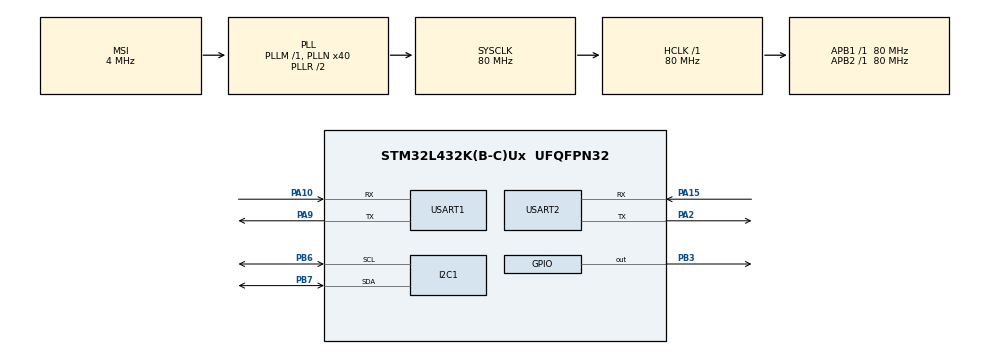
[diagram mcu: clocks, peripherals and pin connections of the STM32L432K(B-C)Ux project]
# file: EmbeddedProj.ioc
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I2C1.Timing=0x10909CEC
Mcu.Family=STM32L4
Mcu.Name=STM32L432K(B-C)Ux
Mcu.Package=UFQFPN32
NVIC.PriorityGroup=NVIC_PRIORITYGROUP_4
NVIC.USART1_IRQn=true\:0\:0\:false\:false\:true\:true\:true
NVIC.USART2_IRQn=true\:0\:0\:false\:false\:true\:true\:true
PA10.Mode=Asynchronous
PA10.Signal=USART1_RX
PA13\ (JTMS-SWDIO).Mode=Serial_Wire
PA13\ (JTMS-SWDIO).Signal=SYS_JTMS-SWDIO
PA14\ (JTCK-SWCLK).Mode=Serial_Wire
PA14\ (JTCK-SWCLK).Signal=SYS_JTCK-SWCLK
PA15\ (JTDI).Mode=Asynchronous
PA15\ (JTDI).Signal=USART2_RX
PA2.Mode=Asynchronous
PA2.Signal=USART2_TX
PA9.Mode=Asynchronous
PA9.Signal=USART1_TX
PB3\ (JTDO-TRACESWO).Signal=GPIO_Output
PB6.Mode=I2C
PB6.Signal=I2C1_SCL
PB7.Mode=I2C
PB7.Signal=I2C1_SDA
ProjectManager.HeapSize=0x200
ProjectManager.StackSize=0x400
ProjectManager.TargetToolchain=MDK-ARM V5.27
RCC.AHBFreq_Value=80000000
RCC.APB1Freq_Value=80000000
RCC.APB1TimFreq_Value=80000000
RCC.APB2Freq_Value=80000000
RCC.APB2TimFreq_Value=80000000
RCC.CortexFreq_Value=80000000
RCC.HCLKFreq_Value=80000000
RCC.HSE_VALUE=8000000
RCC.HSI48_VALUE=48000000
RCC.HSI_VALUE=16000000
RCC.LSE_VALUE=32768
RCC.MSI_VALUE=4000000
RCC.PLLN=40
RCC.SYSCLKFreq_VALUE=80000000
RCC.SYSCLKSource=RCC_SYSCLKSOURCE_PLLCLK
RCC.VCOOutputFreq_Value=160000000
USART1.VirtualMode-Asynchronous=VM_ASYNC
USART2.VirtualMode-Asynchronous=VM_ASYNC
board=custom

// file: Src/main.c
/* USER CODE BEGIN Header */
/**
  ******************************************************************************
  * @file           : main.c
  * @brief          : Main program body
  ******************************************************************************
  * @attention
  *
  * <h2><center>&copy; Copyright (c) 2020 STMicroelectronics.
  * All rights reserved.</center></h2>
  *
  * This software component is licensed by ST under BSD 3-Clause license,
  * the "License"; You may not use this file except in compliance with the
  * License. You may obtain a copy of the License at:
  *                        opensource.org/licenses/BSD-3-Clause
  *
  ******************************************************************************
  */
/* USER CODE END Header */

#include "main.h"

/* USER CODE BEGIN Includes */
#include "stdio.h"
#include <stdlib.h>
#include "string.h"
/* USER CODE END Includes */

I2C_HandleTypeDef hi2c1;

UART_HandleTypeDef huart1;
UART_HandleTypeDef huart2;

/* USER CODE BEGIN PV */
char buffer[256];
int bufferCounter = 0;
int bufferSeeker = 0;
uint8_t secbuffer [2], minbuffer [2], hourbuffer [2];
uint8_t secbufferAlram [2], minbufferAlram [2], hourbufferAlram [2] , DaybufferAlram [2];
uint8_t CR[2];
uint8_t status[2];
uint8_t TUpperByte [2], TLowerByte [2];
/* USER CODE END PV */

void SystemClock_Config(void);
static void MX_GPIO_Init(void);
static void MX_USART2_UART_Init(void);
static void MX_USART1_UART_Init(void);
static void MX_I2C1_Init(void);

/* USER CODE BEGIN 0 */
uint8_t hexToAscii(uint8_t n)//4-bit hex value converted to an ascii character
{
 if (n>=0 && n<=9) n = n + '0';
 else n = n - 10 + 'A';
 return n;
}

void toggleLED(){
	HAL_GPIO_TogglePin(GPIOB, GPIO_PIN_3);
}
void LED(int state) {
	HAL_GPIO_WritePin(GPIOB, GPIO_PIN_3, state ? GPIO_PIN_SET : GPIO_PIN_RESET);
}
void setAlarm(uint8_t hours[2], uint8_t minutes[2], uint8_t secs[2]) {
	HAL_UART_Transmit(&huart2, hours, 2, 100);
	HAL_UART_Transmit(&huart2, minutes, 2, 100);
	HAL_UART_Transmit(&huart2, secs, 2, 100);
	hours[0] = hours[0] - '0';
	hours[1] = hours[1] - '0';
	minutes[0] = minutes[0] - '0';
	minutes[1] = minutes[1] - '0';
	secs[0] = secs[0] - '0';
	secs[1] = secs[1] - '0';

	HAL_I2C_Master_Transmit(&hi2c1, 0xD0, status, 1, 10);
	HAL_I2C_Master_Receive(&hi2c1, 0xD0, status+1, 1, 10);
	status[1] &= 0xFC; // xxxxxx00
	HAL_I2C_Master_Transmit(&hi2c1, 0xD0, status, 2, 10);

	// seconds
	secbufferAlram[1] = (secs[0] << 4) | secs[1];
	HAL_I2C_Master_Transmit(&hi2c1, 0xD0, secbufferAlram, 2, 10);
	// minutes
	minbufferAlram[1] = (minutes[0] << 4) | minutes[1];
	HAL_I2C_Master_Transmit(&hi2c1, 0xD0, minbufferAlram, 2, 10);
	// hours
	hourbufferAlram[1] = (hours[0] << 4) | hours[1];
	HAL_I2C_Master_Transmit(&hi2c1, 0xD0, hourbufferAlram, 2, 10);

	DaybufferAlram[1] = 0x80; //data to put in register 10000000 --> AIM4 = 1
	HAL_I2C_Master_Transmit(&hi2c1, 0xD0, DaybufferAlram, 2, 10);
}

void setTime(uint8_t hours[2], uint8_t minutes[2], uint8_t secs[2]){
	// seconds
	hours[0] = hours[0] - '0';
	hours[1] = hours[1] - '0';
	minutes[0] = minutes[0] - '0';
	minutes[1] = minutes[1] - '0';
	secs[0] = secs[0] - '0';
	secs[1] = secs[1] - '0';
	secbuffer[1] = (secs[0] << 4) | secs[1];
	HAL_I2C_Master_Transmit(&hi2c1, 0xD0, secbuffer, 2, 10);
	// minutes
	minbuffer[1] = (minutes[0] << 4) | minutes[1];
	HAL_I2C_Master_Transmit(&hi2c1, 0xD0, minbuffer, 2, 10);
	// hours
	hourbuffer[1] = (hours[0] << 4) | hours[1];
	HAL_I2C_Master_Transmit(&hi2c1, 0xD0, hourbuffer, 2, 10);
}

void getAlarm(){
	//Alarm Status Read
	uint8_t out[] = {'A',':',0,'\r','\n'};
	HAL_I2C_Master_Transmit(&hi2c1, 0xD0, status, 1, 10);
	HAL_I2C_Master_Receive(&hi2c1, 0xD1, status+1, 1, 10);
	uint8_t A1F = hexToAscii(status[1] & 0x01 );
	out[2] = A1F;
	HAL_UART_Transmit(&huart1,out, sizeof(out), 10);
}

void getTime(){
	uint8_t out[] = {0,0,':',0,0,':',0,0,' ','A',':',0,'\r','\n'};
		//Secs Read
		HAL_I2C_Master_Transmit(&hi2c1, 0xD0, secbuffer, 1, 10);
		HAL_I2C_Master_Receive(&hi2c1, 0xD1, secbuffer+1, 1, 10);
		out[6] = hexToAscii(secbuffer[1] >> 4 );
		out[7] = hexToAscii(secbuffer[1] & 0x0F );

		//Minutes Read
		HAL_I2C_Master_Transmit(&hi2c1, 0xD0, minbuffer, 1, 10);
		HAL_I2C_Master_Receive(&hi2c1, 0xD1, minbuffer+1, 1, 10);
		out[3] = hexToAscii(minbuffer[1] >> 4 );
		out[4] = hexToAscii(minbuffer[1] & 0x0F );

		//Hours Read
		HAL_I2C_Master_Transmit(&hi2c1, 0xD0, hourbuffer, 1, 10);
		HAL_I2C_Master_Receive(&hi2c1, 0xD1, hourbuffer+1, 1, 10);
		out[0] = hexToAscii((hourbuffer[1] >> 4) & 0x01);
		out[1] = hexToAscii(hourbuffer[1] & 0x0F);

		//Alarm Status Read
		HAL_I2C_Master_Transmit(&hi2c1, 0xD0, status, 1, 10);
		HAL_I2C_Master_Receive(&hi2c1, 0xD1, status+1, 1, 10);
		uint8_t A1F = hexToAscii(status[1] & 0x01 );
		out[12] = A1F;
		// transmit time to
		HAL_UART_Transmit(&huart1,out, sizeof(out), 10);
}

void getTemperature() {
	char fraction[]={'.','0','0',' ','C','\r','\n'};
	char temp[2];
	char out1[3];
	char negSign = '-';

	//Initiate Conversion
	HAL_I2C_Master_Transmit(&hi2c1, 0xD0, CR, 1, 10);
	HAL_I2C_Master_Receive(&hi2c1, 0xD0, CR+1, 1, 10);
	CR[1] |= 0x20; // 00100000
	HAL_I2C_Master_Transmit(&hi2c1, 0xD0, CR, 2, 10);
	do {
		HAL_I2C_Master_Transmit(&hi2c1, 0xD0, status, 1, 10);
		HAL_I2C_Master_Receive(&hi2c1, 0xD0, status+1, 1, 10);
		if ((status[1] & 0x04) == 0x00 ){	 // xxxxx?xx
				HAL_I2C_Master_Transmit(&hi2c1, 0xD0, TUpperByte, 1, 10);
				HAL_I2C_Master_Receive(&hi2c1, 0xD0, TUpperByte+1, 1, 10);
				HAL_I2C_Master_Transmit(&hi2c1, 0xD0, TLowerByte, 1, 10);
				HAL_I2C_Master_Receive(&hi2c1, 0xD0, TLowerByte+1, 1, 10);

				temp[1] = hexToAscii((TUpperByte[1] & 0x0F));
				temp[0] = hexToAscii((TUpperByte[1] << 4) & 0x07);
				unsigned int x = strtol(temp, NULL, 16);
				sprintf(out1,"%u", x);

				switch(TLowerByte[1]) {
					case 0x00:
						fraction[1] = '0';
						fraction[2] = '0';
						break;
					case 0x40:
						fraction[1] = '2';
						fraction[2] = '5';
						break;
					case 0x80:
						fraction[1] = '5';
						fraction[2] = '0';
						break;
					case 0xc0:
						fraction[1] = '7';
						fraction[2] = '5';
						break;
				}

				if((TUpperByte[1] & 0x80) != 0x00)
						HAL_UART_Transmit(&huart1,(uint8_t*) &negSign, 1, 100);
				HAL_UART_Transmit(&huart1,(uint8_t*) out1, strlen(out1), 100);
				HAL_UART_Transmit(&huart1,(uint8_t*) fraction, strlen(fraction), 100);
			}
		} while ((status[1] & 0x04) != 0x00);
}

void ping() {
	char msg[] = "PONG!";
	HAL_UART_Transmit(&huart1,(uint8_t*) msg, strlen(msg), 100);
}

void listen(){
	if(bufferSeeker < bufferCounter && buffer[(bufferCounter-1) % 256] == '\0') {
		if(strncmp(&buffer[bufferSeeker%256],"$LG",3) == 0){
			if(strlen(&buffer[bufferSeeker%256]) == 3)
				toggleLED();
			else
				LED(strlen(&buffer[bufferSeeker%256]) == 6);
		} else if(strncmp(&buffer[bufferSeeker%256],"$G Time",7) == 0) {
			getTime();
		} else if(strncmp(&buffer[bufferSeeker%256],"$G Alarm",8) == 0) {
			getAlarm();
		} else if(strncmp(&buffer[bufferSeeker%256],"$G Temp",7) == 0) {
			getTemperature();
		} else if(strncmp(&buffer[bufferSeeker%256],"$P STM",6) == 0) {
			ping();
		} else if(strncmp(&buffer[bufferSeeker%256],"$S Time",7) == 0) {
			setTime(
			(uint8_t*)&buffer[(bufferSeeker+8) % 256],
			(uint8_t*)&buffer[(bufferSeeker+11) % 256],
			(uint8_t*)&buffer[(bufferSeeker+14) % 256]
			);
		} else if(strncmp(&buffer[bufferSeeker%256], "$S Alarm",8) == 0) {
			setAlarm(
			(uint8_t*)&buffer[(bufferSeeker+9) % 256],
			(uint8_t*)&buffer[(bufferSeeker+12) % 256],
			(uint8_t*)&buffer[(bufferSeeker+15) % 256]
			);
		}
		bufferSeeker += strlen(&buffer[bufferSeeker%256]) + 1;
	}
}
/* USER CODE END 0 */

int main(void)
{

  /* MCU Configuration--------------------------------------------------------*/

  /* Reset of all peripherals, Initializes the Flash interface and the Systick. */
  HAL_Init();

  /* Configure the system clock */
  SystemClock_Config();

  /* Initialize all configured peripherals */
  MX_GPIO_Init();
  MX_USART2_UART_Init();
  MX_USART1_UART_Init();
  MX_I2C1_Init();
  /* USER CODE BEGIN 2 */
	secbuffer[0] = 0x00; //register address
	minbuffer[0] = 0x01; //register address
	hourbuffer[0] = 0x02; //register address
	secbufferAlram[0] = 0x07; //register address
	minbufferAlram[0] = 0x08; //register address
	hourbufferAlram[0] = 0x09; //register address
	DaybufferAlram[0] = 0x0A; //register address
	CR[0]	= 0x0E;
	status[0]	= 0x0F;
	TUpperByte[0] = 0x11;
	TLowerByte[0] = 0x12;

	HAL_I2C_Master_Transmit(&hi2c1, 0xD0, CR, 1, 10);
	HAL_I2C_Master_Receive(&hi2c1, 0xD0, CR+1, 1, 10);
	CR[1] |= 0x05; // 00000101
	HAL_I2C_Master_Transmit(&hi2c1, 0xD0, CR, 2, 10);

	HAL_I2C_Master_Transmit(&hi2c1, 0xD0, status, 1, 10);
	HAL_I2C_Master_Receive(&hi2c1, 0xD0, status+1, 1, 10);
	status[1] &= 0xFC; // xxxxxx00
	HAL_I2C_Master_Transmit(&hi2c1, 0xD0, status, 2, 10);
	__HAL_UART_ENABLE_IT(&huart1, UART_IT_RXNE);
  /* USER CODE END 2 */

  /* Infinite loop */
 while (1)
  {

    /* USER CODE BEGIN 3 */
		listen();

  }
  /* USER CODE END 3 */
}

void SystemClock_Config(void)
{
  RCC_OscInitTypeDef RCC_OscInitStruct = {0};
  RCC_ClkInitTypeDef RCC_ClkInitStruct = {0};
  RCC_PeriphCLKInitTypeDef PeriphClkInit = {0};

  /** Initializes the CPU, AHB and APB busses clocks
  */
  RCC_OscInitStruct.OscillatorType = RCC_OSCILLATORTYPE_MSI;
  RCC_OscInitStruct.MSIState = RCC_MSI_ON;
  RCC_OscInitStruct.MSICalibrationValue = 0;
  RCC_OscInitStruct.MSIClockRange = RCC_MSIRANGE_6;
  RCC_OscInitStruct.PLL.PLLState = RCC_PLL_ON;
  RCC_OscInitStruct.PLL.PLLSource = RCC_PLLSOURCE_MSI;
  RCC_OscInitStruct.PLL.PLLM = 1;
  RCC_OscInitStruct.PLL.PLLN = 40;
  RCC_OscInitStruct.PLL.PLLP = RCC_PLLP_DIV7;
  RCC_OscInitStruct.PLL.PLLQ = RCC_PLLQ_DIV2;
  RCC_OscInitStruct.PLL.PLLR = RCC_PLLR_DIV2;
  if (HAL_RCC_OscConfig(&RCC_OscInitStruct) != HAL_OK)
  {
    Error_Handler();
  }
  /** Initializes the CPU, AHB and APB busses clocks
  */
  RCC_ClkInitStruct.ClockType = RCC_CLOCKTYPE_HCLK|RCC_CLOCKTYPE_SYSCLK
                              |RCC_CLOCKTYPE_PCLK1|RCC_CLOCKTYPE_PCLK2;
  RCC_ClkInitStruct.SYSCLKSource = RCC_SYSCLKSOURCE_PLLCLK;
  RCC_ClkInitStruct.AHBCLKDivider = RCC_SYSCLK_DIV1;
  RCC_ClkInitStruct.APB1CLKDivider = RCC_HCLK_DIV1;
  RCC_ClkInitStruct.APB2CLKDivider = RCC_HCLK_DIV1;

  if (HAL_RCC_ClockConfig(&RCC_ClkInitStruct, FLASH_LATENCY_4) != HAL_OK)
  {
    Error_Handler();
  }
  PeriphClkInit.PeriphClockSelection = RCC_PERIPHCLK_USART1|RCC_PERIPHCLK_USART2
                              |RCC_PERIPHCLK_I2C1;
  PeriphClkInit.Usart1ClockSelection = RCC_USART1CLKSOURCE_PCLK2;
  PeriphClkInit.Usart2ClockSelection = RCC_USART2CLKSOURCE_PCLK1;
  PeriphClkInit.I2c1ClockSelection = RCC_I2C1CLKSOURCE_PCLK1;
  if (HAL_RCCEx_PeriphCLKConfig(&PeriphClkInit) != HAL_OK)
  {
    Error_Handler();
  }
  /** Configure the main internal regulator output voltage
  */
  if (HAL_PWREx_ControlVoltageScaling(PWR_REGULATOR_VOLTAGE_SCALE1) != HAL_OK)
  {
    Error_Handler();
  }
}

static void MX_I2C1_Init(void)
{

  hi2c1.Instance = I2C1;
  hi2c1.Init.Timing = 0x10909CEC;
  hi2c1.Init.OwnAddress1 = 0;
  hi2c1.Init.AddressingMode = I2C_ADDRESSINGMODE_7BIT;
  hi2c1.Init.DualAddressMode = I2C_DUALADDRESS_DISABLE;
  hi2c1.Init.OwnAddress2 = 0;
  hi2c1.Init.OwnAddress2Masks = I2C_OA2_NOMASK;
  hi2c1.Init.GeneralCallMode = I2C_GENERALCALL_DISABLE;
  hi2c1.Init.NoStretchMode = I2C_NOSTRETCH_DISABLE;
  if (HAL_I2C_Init(&hi2c1) != HAL_OK)
  {
    Error_Handler();
  }
  /** Configure Analogue filter
  */
  if (HAL_I2CEx_ConfigAnalogFilter(&hi2c1, I2C_ANALOGFILTER_ENABLE) != HAL_OK)
  {
    Error_Handler();
  }
  /** Configure Digital filter
  */
  if (HAL_I2CEx_ConfigDigitalFilter(&hi2c1, 0) != HAL_OK)
  {
    Error_Handler();
  }

}

static void MX_USART1_UART_Init(void)
{

  huart1.Instance = USART1;
  huart1.Init.BaudRate = 115200;
  huart1.Init.WordLength = UART_WORDLENGTH_8B;
  huart1.Init.StopBits = UART_STOPBITS_1;
  huart1.Init.Parity = UART_PARITY_NONE;
  huart1.Init.Mode = UART_MODE_TX_RX;
  huart1.Init.HwFlowCtl = UART_HWCONTROL_NONE;
  huart1.Init.OverSampling = UART_OVERSAMPLING_16;
  huart1.Init.OneBitSampling = UART_ONE_BIT_SAMPLE_DISABLE;
  huart1.AdvancedInit.AdvFeatureInit = UART_ADVFEATURE_NO_INIT;
  if (HAL_UART_Init(&huart1) != HAL_OK)
  {
    Error_Handler();
  }

}

static void MX_USART2_UART_Init(void)
{

  huart2.Instance = USART2;
  huart2.Init.BaudRate = 115200;
  huart2.Init.WordLength = UART_WORDLENGTH_8B;
  huart2.Init.StopBits = UART_STOPBITS_1;
  huart2.Init.Parity = UART_PARITY_NONE;
  huart2.Init.Mode = UART_MODE_TX_RX;
  huart2.Init.HwFlowCtl = UART_HWCONTROL_NONE;
  huart2.Init.OverSampling = UART_OVERSAMPLING_16;
  huart2.Init.OneBitSampling = UART_ONE_BIT_SAMPLE_DISABLE;
  huart2.AdvancedInit.AdvFeatureInit = UART_ADVFEATURE_NO_INIT;
  if (HAL_UART_Init(&huart2) != HAL_OK)
  {
    Error_Handler();
  }

}

static void MX_GPIO_Init(void)
{
  GPIO_InitTypeDef GPIO_InitStruct = {0};

  /* GPIO Ports Clock Enable */
  __HAL_RCC_GPIOA_CLK_ENABLE();
  __HAL_RCC_GPIOB_CLK_ENABLE();

  /*Configure GPIO pin Output Level */
  HAL_GPIO_WritePin(GPIOB, GPIO_PIN_3, GPIO_PIN_RESET);

  /*Configure GPIO pin : PB3 */
  GPIO_InitStruct.Pin = GPIO_PIN_3;
  GPIO_InitStruct.Mode = GPIO_MODE_OUTPUT_PP;
  GPIO_InitStruct.Pull = GPIO_NOPULL;
  GPIO_InitStruct.Speed = GPIO_SPEED_FREQ_LOW;
  HAL_GPIO_Init(GPIOB, &GPIO_InitStruct);

}

void Error_Handler(void)
{
}

/************************ (C) COPYRIGHT STMicroelectronics *****END OF FILE****/
